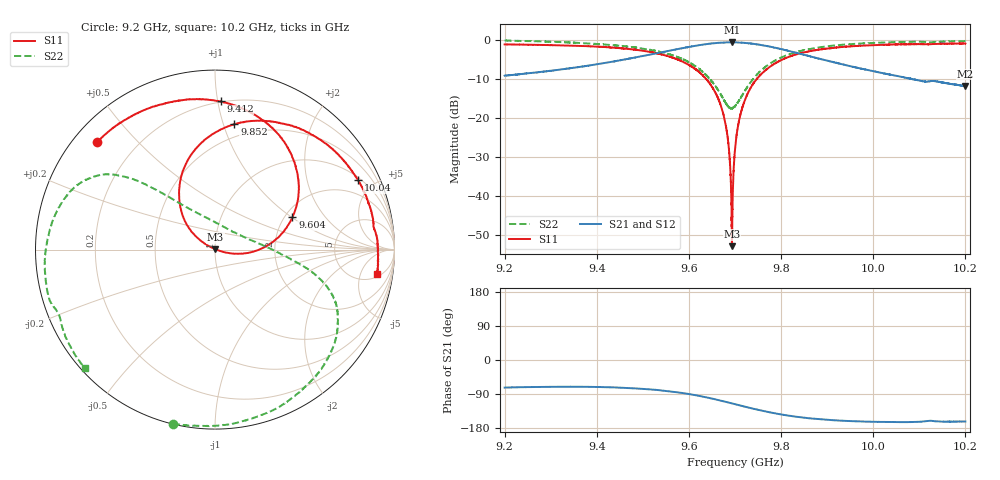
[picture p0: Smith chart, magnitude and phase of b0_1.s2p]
!Agilent Technologies,N5242A,MY51221714,A.09.90.19
!Agilent N5242A: A.09.90.19
!Date: Tuesday, March 26, 2024 16:44:05
!Correction: S11(Full 2 Port(1,2))
!S21(Full 2 Port(1,2))
!S12(Full 2 Port(1,2))
!S22(Full 2 Port(1,2))
!S2P File: Measurements: S11, S21, S12, S22:
# Hz S  dB  R 50
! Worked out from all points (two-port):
!   16001 points, 9.2 GHz to 10.2 GHz, reference 50 ohm
!   highest |S21| = -0.48 dB at 9.693 GHz (marker M1); lowest = -11.7 dB at 10.2 GHz (marker M2)
!   |S21| within 3 dB of the highest: 9.523301 GHz to 9.523434 GHz (132.7 kHz wide, 0.00139 % of centre); 9.524 GHz to 9.843 GHz (319.9 MHz wide, 3.3 % of centre)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
!   lowest |S11| = -52.7 dB at 9.693 GHz (marker M3), VSWR 1.00, Z = 50.1 + j0.181 ohm
!   |S11| at or under -10 dB: 9.638233 GHz to 9.638288 GHz (54.98 kHz wide, 0.00057 % of centre); 9.638 GHz to 9.746 GHz (108.1 MHz wide, 1.12 % of centre); 9.746471 GHz to 9.74652 GHz (48.83 kHz wide, 0.000501 % of centre)
!   |S22| runs from -17.5 to 0.0 dB; largest |S21 - S12| = 0.013
!   S11 on the Smith chart (normalised r, x): 9.2 GHz: 0.07, +0.39; 9.412 GHz: 0.20, +1.02; 9.604 GHz: 2.20, +1.01; 9.852 GHz: 0.39, +1.09; 10.04 GHz: 1.13, +4.07; 10.2 GHz: 6, -10
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9.2e9  -1.03 137.5  -9.03 -72.8  -9.01 -73.6  -0.02 -103.6
9.366688e9  -1.42 99.7  -6.72 -70.7  -6.71 -71.5  -0.70 -59.6
9.412375e9  -1.65 87.9  -5.87 -71.5  -5.86 -72.3  -1.01 -48.4
9.533375e9  -3.40 50.9  -3.23 -79.4  -3.22 -80.0  -2.81 -22.8
9.6045e9  -6.60 22.7  -1.58 -90.8  -1.58 -91.4  -5.89 -11.0
9.643312e9  -10.74 4.3  -0.87 -100.0  -0.86 -100.6  -9.61 -1.0
9.66875e9  -16.53 -8.6  -0.58 -107.1  -0.58 -107.7  -13.80 15.2
9.682688e9  -23.83 -14.6  -0.51 -111.3  -0.50 -111.9  -16.60 38.1
9.690188e9  -33.90 -13.5  -0.49 -113.6  -0.48 -114.2  -17.38 57.0
9.69325e9  -51.42 45.3  -0.48 -114.5  -0.48 -115.1  -17.33 64.7
9.693312e9  -52.74 51.6  -0.50 -114.5  -0.48 -115.1  -17.38 64.9
9.69675e9  -34.06 147.8  -0.50 -115.5  -0.48 -116.2  -17.20 73.9
9.7e9  -28.05 151.1  -0.51 -116.6  -0.49 -117.1  -16.83 81.7
9.713562e9  -18.17 145.6  -0.57 -120.8  -0.55 -121.4  -14.50 106.5
9.740688e9  -10.91 131.2  -0.89 -128.8  -0.88 -129.5  -9.67 127.6
9.78825e9  -5.79 107.9  -1.90 -141.0  -1.90 -141.7  -5.08 137.7
9.852062e9  -3.01 81.2  -3.74 -152.5  -3.74 -153.1  -2.45 146.4
9.866688e9  -2.66 75.9  -4.19 -154.4  -4.19 -155.0  -2.11 148.6
1.003338e10  -1.09 27.8  -8.70 -163.5  -8.68 -164.2  -0.49 -178.7
1.004138e10  -1.05 25.8  -8.87 -163.6  -8.87 -164.2  -0.45 -176.9
1.019975e10  -0.80 -8.6  -11.70 -162.2  -11.70 -162.9  -0.18 -137.8
1.02e10  -0.78 -8.6  -11.69 -162.2  -11.69 -162.8  -0.17 -137.7
